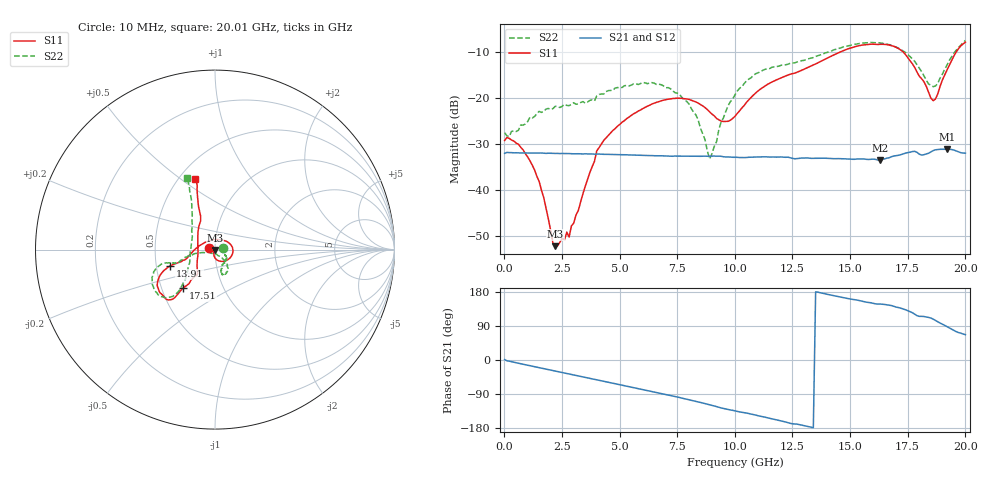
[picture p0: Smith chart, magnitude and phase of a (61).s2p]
! Hittite Microwave Corporation
! 2 Elizabeth Drive
! Chelmsford, MA 01824
! http://www.hittite.com
! Tel: 978-250-3343
! Fax: 978-250-3373
! Device:  HMC424LP3
! Description: 0.5 dB GaAs MMIC 6-Bit Digital Attenuator
! Frequency:  DC -  13.00 GHz
! Package:  LP3  - 3x3 mm Quad Flatpack No-Lead (QFN) Plastic Package: 16 pin
! Ports:  2 RF, 7 DC
!  Pad  1  = Ground
!  Pad  2  = RF IN  =  Port 1
!  Pad  3  = Ground
!  Pad  4  = V6
!  Pad  5  = V5
!  Pad  6  = V4
!  Pad  7  = V3
!  Pad  8  = V2
!  Pad  9  = V1
!  Pad 10  = Ground
!  Pad 11  = RF OUT  = Port 2
!  Pad 12  = Ground
!  Pad 15  = VEE
! Control:  -5 Volt control voltage
! State:  59
! Attenuation:  29.5 dB
! Voltages:  Vdd = -5.00 Volts  Idd =  -2.635 mA
!  V1  = -5.00 Volts  I1  =  -1.0 uA
!  V2  = -5.00 Volts  I2  =  -1.0 uA
!  V3  = 0.00 Volts  I3  =  29.0 uA
!  V4  = -5.00 Volts  I4  =  -1.0 uA
!  V5  = -5.00 Volts  I5  =  -1.0 uA
!  V6  = -5.00 Volts  I6  =  -1.0 uA
! Data:  The device was measured on evaluation board 105354-1.
!  Data was collected using a calibrated network analyzer.
!  The evaluation circuit board was modeled and simulated.  This was use
!  to removed the evaluation board circuit from the measured data.
!  The reference plane is the edge of the package pin.
! Misc:  Lot xxxx, Unit 1
!  Application 20120001, Data collected in Application 20090083
! Date Measured:  2009-09-15
! Date:  2012-05-14  MJV
! Note:
!  Hittite supplies this data as a sample of measured data at the package pin
!  for this product.  Your particular data for this product may vary.
!  Data was taken at 25 degrees C.
!  Hittite reserves the right to change this data at anytime.
# GHz S MA R 50
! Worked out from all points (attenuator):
!   201 points, 10 MHz to 20.01 GHz, reference 50 ohm
!   highest |S21| = -31.03 dB at 19.21 GHz (marker M1); lowest = -33.4 dB at 16.31 GHz (marker M2)
!   lowest |S11| = -52.1 dB at 2.21 GHz (marker M3), VSWR 1.00, Z = 50 - j0.248 ohm
!   |S11| at or under -10 dB: start of sweep to 14.53 GHz; 17.33 GHz to 19.6 GHz (2.268 GHz wide, 12.3 % of centre)
!   |S22| runs from -33.1 to -7.4 dB; largest |S21 - S12| = 0.0022
!   S11 on the Smith chart (normalised r, x): 10 MHz: 0.93, +0.01; 13.91 GHz: 0.59, -0.12; 17.51 GHz: 0.64, -0.30; 20.01 GHz: 0.60, +0.57
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0.01  0.03494 166.9  0.0253 1.2  0.02717 -1.4  0.04243 8.7
0.61  0.03178 -177.1  0.02562 -8.6  0.02558 -8.6  0.04512 -19.7
1.31  0.01674 -163.4  0.02551 -17.7  0.02548 -17.6  0.06375 -30.5
2.21  0.002479 -89.2  0.02527 -29.1  0.02529 -29.2  0.08225 -35.9
2.81  0.003113 -62.5  0.02517 -36.7  0.02518 -36.8  0.08347 -44.4
3.41  0.009194 -108.8  0.02492 -44.6  0.02491 -44.4  0.09247 -54.1
4.31  0.03492 -98.8  0.02471 -56.1  0.02472 -56.0  0.1117 -71.6
6.71  0.09246 -35.0  0.0238 -87.2  0.02377 -87.2  0.1429 -63.3
8.01  0.09776 7.4  0.02361 -104.9  0.02346 -104.9  0.08721 -48.0
8.41  0.08912 21.6  0.02352 -110.7  0.02349 -110.5  0.05861 -48.0
8.91  0.07145 45.0  0.02358 -118.1  0.02356 -118.2  0.02201 -101.3
9.41  0.05673 82.9  0.02351 -126.5  0.02348 -126.4  0.0558 -159.8
10.01  0.06403 137.4  0.02296 -134.3  0.02296 -134.4  0.1096 -168.9
11.21  0.1313 -172.0  0.02318 -149.6  0.02308 -149.7  0.2022 -162.6
13.41  0.2306 -160.5  0.02236 -178.7  0.02227 -178.6  0.2784 -164.7
13.91  0.2662 -159.9  0.02242 175.0  0.02232 174.9  0.3114 -164.8
16.31  0.3879 -136.9  0.02143 147.6  0.02136 147.6  0.4019 -140.1
16.71  0.3811 -132.6  0.02271 144.6  0.02277 144.6  0.384 -135.6
17.51  0.2781 -129.6  0.0258 130.1  0.02578 130.2  0.3 -131.2
18.61  0.09466 -176.8  0.0271 107.9  0.0271 107.8  0.1344 175.1
19.21  0.2032 113.2  0.02809 88.1  0.02799 88.2  0.2298 123.4
20.01  0.4094 105.9  0.02544 67.0  0.0253 66.8  0.4271 111.5
